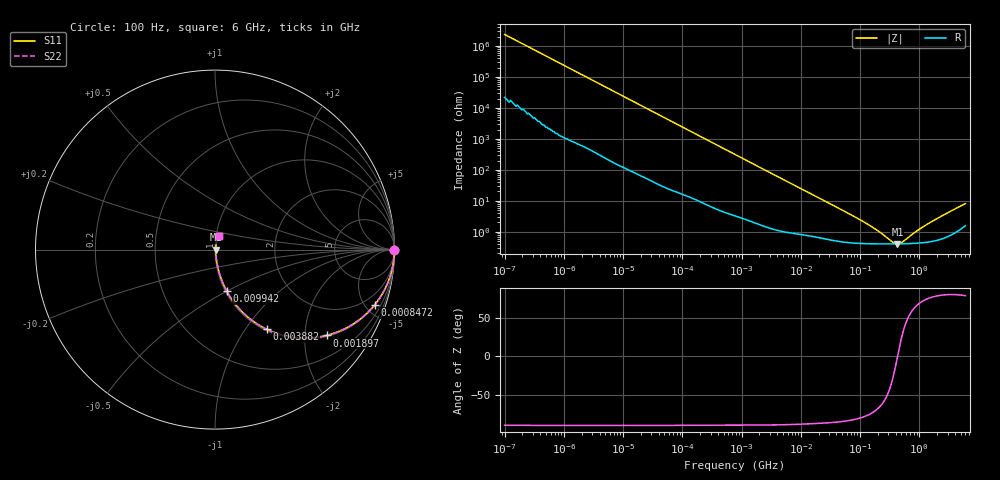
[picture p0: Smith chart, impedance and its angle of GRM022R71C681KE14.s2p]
!Murata Part Number: GRM022R71C681KE14
!These Parameters are Measured in Series Mode Connection
!Data Generated on Mar 30, 2021
!  o--ll--o
!Port1  Port2
!  o------o
!Operation Temp=25[degC], DC Bias Voltage=0[V]
!Freq. Start=100[Hz] Stop=6[GHz] 401[Steps]
# Hz S RI R 50
!Freq.(Hz) S11(Real) S11(Imag) S21(Real) S21(Imag) S12(Real) S12(Imag) S22(Real) S22(Imag)
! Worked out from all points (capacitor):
!   401 points, 100 Hz to 6 GHz, reference 50 ohm
!   read as one part in series: C = 676 pF near 109 Hz
!   lowest |Z| = 407 mohm at 427.4 MHz (marker M1)
!   series resonance near 429.6 MHz, so ESL is about 200 pH
!   S11 on the Smith chart (normalised r, x): 100 Hz: open; 847.2 kHz: 1.06, -5.73; 1.897 MHz: 1.04, -2.57; 3.882 MHz: 1.02, -1.26; 9.942 MHz: 1.02, -0.50; 6 GHz: 1.03, +0.16
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100  1 -4.26e-05  4e-07 4.26e-05  4e-07 4.26e-05  1 -4.26e-05
245  1 -0.000104  7e-07 0.000104  7e-07 0.000104  1 -0.000104
2008  1 -0.000846  5e-06 0.000846  5e-06 0.000846  1 -0.000846
40335  0.9996 -0.0168  0.000376 0.0168  0.000376 0.0168  0.9996 -0.0168
231233  0.9902 -0.0948  0.00982 0.0948  0.00982 0.0948  0.9902 -0.0948
774597  0.9051 -0.2879  0.0949 0.2879  0.0949 0.2879  0.9051 -0.2879
847162  0.8889 -0.3089  0.1111 0.3089  0.1111 0.3089  0.8889 -0.3089
1267578  0.7839 -0.4055  0.2161 0.4055  0.2161 0.4055  0.7839 -0.4055
1896632  0.6221 -0.478  0.3779 0.478  0.3779 0.478  0.6221 -0.478
2713602  0.4493 -0.4898  0.5507 0.4898  0.5507 0.4898  0.4493 -0.4898
3882480  0.2886 -0.4442  0.7114 0.4442  0.7114 0.4442  0.2886 -0.4442
6075234  0.1464 -0.3421  0.8536 0.3421  0.8536 0.3421  0.1464 -0.3421
9941735  0.0648 -0.2303  0.9352 0.2303  0.9352 0.2303  0.0648 -0.2303
1.555665e7  0.0314 -0.1535  0.9686 0.1535  0.9686 0.1535  0.0314 -0.1535
3.64232e7  0.00978 -0.0678  0.9902 0.0678  0.9902 0.0678  0.00978 -0.0678
1.166697e8  0.00454 -0.02  0.9955 0.02  0.9955 0.02  0.00454 -0.02
3.124326e8  0.00405 -0.00381  0.9959 0.00381  0.9959 0.00381  0.00405 -0.00381
4.274388e8  0.00405 -5.95e-05  0.9959 5.95e-05  0.9959 5.95e-05  0.00405 -5.95e-05
5.112761e8  0.00408 0.00206  0.9959 -0.00206  0.9959 -0.00206  0.00408 0.00206
9.150511e8  0.00435 0.00975  0.9957 -0.00975  0.9957 -0.00975  0.00435 0.00975
1.565993e9  0.00516 0.0198  0.9948 -0.0198  0.9948 -0.0198  0.00516 0.0198
6e9  0.0215 0.0768  0.9785 -0.0768  0.9785 -0.0768  0.0215 0.0768
